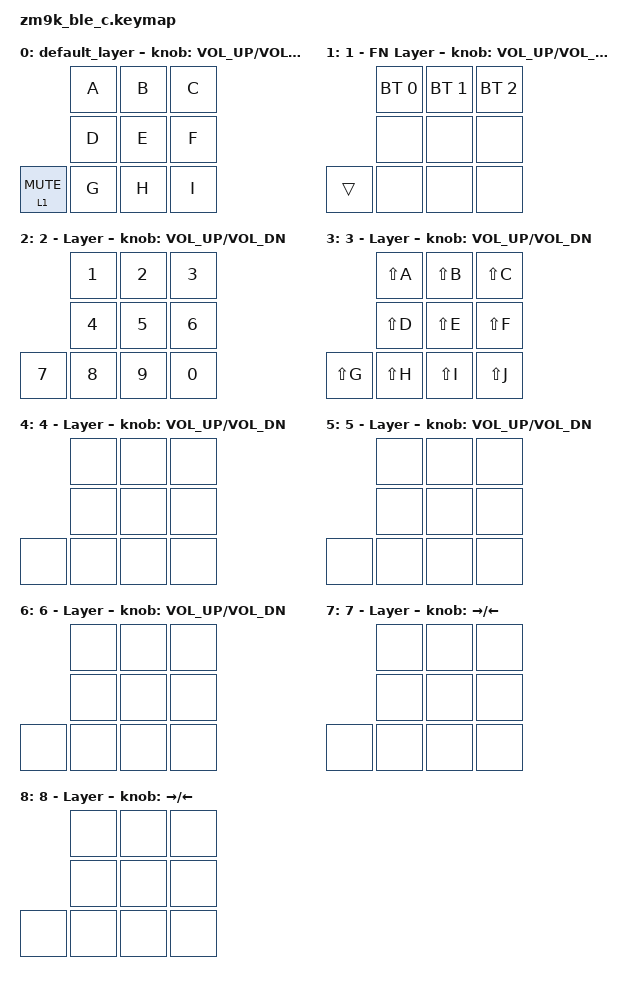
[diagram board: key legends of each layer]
#include <behaviors.dtsi>
#include <dt-bindings/zmk/keys.h>
#include <dt-bindings/zmk/bt.h>

/ {
    behaviors {
        mo_sl: Hold-MOLayer_Tap-SlLayer{
            compatible = "zmk,behavior-hold-tap";
            #binding-cells = <2>;
            flavor = "hold-preferred";
            tapping-term-ms = <200>;
            bindings = <&mo>, <&sl>;
        };
        // ble_s: ble_select{
        //     compatible = "zmk,behavior-hold-tap";
        //     #binding-cells = <2>;
        //     flavor = "hold-preferred";
        //     tapping-term-ms = <200>;
        //     bindings = <&bt 5>, <&bt 5>;
        // };
    }; 

    keymap {
        compatible = "zmk,keymap";

        default_layer {
            bindings = <
                              &kp A             &kp B             &kp C
                              &kp D             &kp E             &kp F
                &lt 1 C_MUTE  &kp G             &kp H             &kp I
            >;

            sensor-bindings = <&inc_dec_kp C_VOL_UP C_VOL_DN>;
        };

        fn_layer {
            display-name = "1 - FN Layer";
            bindings = <
                              &bt BT_SEL 0 &bt BT_SEL 1 &bt BT_SEL 2
                              &none        &none        &none
                &trans        &none        &none        &none
            >;

            sensor-bindings = <&inc_dec_kp C_VOL_UP C_VOL_DN>;
        };

        2layer {
            display-name = "2 - Layer";
            bindings = <
                              &kp 1        &kp 2         &kp 3 
                              &kp 4        &kp 5         &kp 6
                &kp 7         &kp 8        &kp 9         &kp 0
            >;

            sensor-bindings = <&inc_dec_kp C_VOL_UP C_VOL_DN>;
        };
        
        3layer {
            display-name = "3 - Layer";
            bindings = <
                              &kp LS(A)        &kp LS(B)         &kp LS(C) 
                              &kp LS(D)        &kp LS(E)         &kp LS(F)
                &kp LS(G)     &kp LS(H)        &kp LS(I)         &kp LS(J)
            >;

            sensor-bindings = <&inc_dec_kp C_VOL_UP C_VOL_DN>;
        };

        4layer {
            display-name = "4 - Layer";
            bindings = <
                              &none        &none         &none
                              &none        &none         &none
                &none         &none        &none         &none
            >;

            sensor-bindings = <&inc_dec_kp C_VOL_UP C_VOL_DN>;
        };

        5layer {
            display-name = "5 - Layer";
            bindings = <
                              &none        &none         &none
                              &none        &none         &none
                &none         &none        &none         &none
            >;

            sensor-bindings = <&inc_dec_kp C_VOL_UP C_VOL_DN>;
        };

        6layer {
            display-name = "6 - Layer";
            bindings = <
                              &none        &none         &none
                              &none        &none         &none
                &none         &none        &none         &none
            >;

            sensor-bindings = <&inc_dec_kp C_VOL_UP C_VOL_DN>;
        };
        7layer {
            display-name = "7 - Layer";
            bindings = <
                              &none        &none         &none
                              &none        &none         &none
                &none         &none        &none         &none
            >;

            sensor-bindings = <&inc_dec_kp RIGHT LEFT>;
        };
        8layer {
            display-name = "8 - Layer";
            bindings = <
                              &none        &none         &none
                              &none        &none         &none
                &none         &none        &none         &none
            >;

            sensor-bindings = <&inc_dec_kp RIGHT LEFT>;
        };
    };
};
